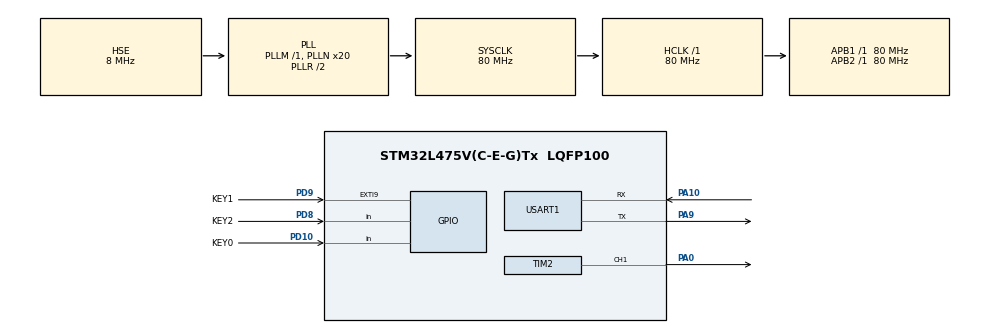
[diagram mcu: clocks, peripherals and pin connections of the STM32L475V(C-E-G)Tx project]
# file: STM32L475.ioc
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Mcu.Family=STM32L4
Mcu.Name=STM32L475V(C-E-G)Tx
Mcu.Package=LQFP100
NVIC.EXTI9_5_IRQn=true\:1\:3\:true\:false\:true\:true\:true
NVIC.PriorityGroup=NVIC_PRIORITYGROUP_1
NVIC.TIM1_UP_TIM16_IRQn=true\:0\:0\:false\:false\:true\:true\:true
NVIC.TIM3_IRQn=true\:0\:0\:false\:false\:true\:true\:true
PA0.Signal=S_TIM2_CH1
PA10.Mode=Asynchronous
PA10.Signal=USART1_RX
PA13\ (JTMS-SWDIO).Mode=Serial_Wire
PA13\ (JTMS-SWDIO).Signal=SYS_JTMS-SWDIO
PA14\ (JTCK-SWCLK).Mode=Serial_Wire
PA14\ (JTCK-SWCLK).Signal=SYS_JTCK-SWCLK
PA9.Mode=Asynchronous
PA9.Signal=USART1_TX
PD10.GPIO_Label=KEY0
PD10.GPIO_PuPd=GPIO_PULLUP
PD10.Signal=GPIO_Input
PD8.GPIO_Label=KEY2
PD8.GPIO_PuPd=GPIO_PULLUP
PD8.Signal=GPIO_Input
PD9.GPIO_Label=KEY1
PD9.GPIO_ModeDefaultEXTI=GPIO_MODE_IT_FALLING
PD9.GPIO_PuPd=GPIO_PULLUP
PD9.Signal=GPXTI9
PH0-OSC_IN\ (PH0).Mode=HSE-External-Oscillator
PH0-OSC_IN\ (PH0).Signal=RCC_OSC_IN
PH1-OSC_OUT\ (PH1).Mode=HSE-External-Oscillator
PH1-OSC_OUT\ (PH1).Signal=RCC_OSC_OUT
ProjectManager.HeapSize=0x200
ProjectManager.StackSize=0x400
ProjectManager.TargetToolchain=MDK-ARM V5.27
RCC.ADCFreq_Value=32000000
RCC.AHBFreq_Value=80000000
RCC.APB1Freq_Value=80000000
RCC.APB1TimFreq_Value=80000000
RCC.APB2Freq_Value=80000000
RCC.APB2TimFreq_Value=80000000
RCC.CortexFreq_Value=80000000
RCC.HCLKFreq_Value=80000000
RCC.HSE_VALUE=8000000
RCC.HSI_VALUE=16000000
RCC.LSE_VALUE=32768
RCC.MSI_VALUE=4000000
RCC.PLLN=20
RCC.PLLSourceVirtual=RCC_PLLSOURCE_HSE
RCC.SYSCLKFreq_VALUE=80000000
RCC.SYSCLKSource=RCC_SYSCLKSOURCE_PLLCLK
RCC.USBFreq_Value=32000000
RCC.VCOOutputFreq_Value=160000000
SH.S_TIM2_CH1.0=TIM2_CH1,PWM Generation1 CH1
TIM1.Period=2000-1
TIM1.Prescaler=40000-1
TIM2.Channel-PWM\ Generation1\ CH1=TIM_CHANNEL_1
TIM2.OC1Preload_PWM=ENABLE
TIM2.OCMode_PWM-PWM\ Generation1\ CH1=TIM_OCMODE_COMBINED_PWM1
TIM2.Period=20000-1
TIM2.Prescaler=40000-1
TIM2.Pulse-PWM\ Generation1\ CH1=10000
TIM3.Period=1000-1
TIM3.Prescaler=40000-1
USART1.VirtualMode-Asynchronous=VM_ASYNC
VP_TIM1_VS_ClockSourceINT.Mode=Internal
VP_TIM2_VS_ClockSourceINT.Mode=Internal
VP_TIM3_VS_ClockSourceINT.Mode=Internal
board=custom

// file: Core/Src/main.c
/* USER CODE BEGIN Header */
/**
  ******************************************************************************
  * @file           : main.c
  * @brief          : Main program body
  ******************************************************************************
  * @attention
  *
  * <h2><center>&copy; Copyright (c) 2020 STMicroelectronics.
  * All rights reserved.</center></h2>
  *
  * This software component is licensed by ST under BSD 3-Clause license,
  * the "License"; You may not use this file except in compliance with the
  * License. You may obtain a copy of the License at:
  *                        opensource.org/licenses/BSD-3-Clause
  *
  ******************************************************************************
  */
/* USER CODE END Header */
#include "main.h"
#include "tim.h"
#include "usart.h"
#include "gpio.h"

/* USER CODE BEGIN Includes */
#include <string.h>
#include "LED.h"
#include "BEEP.h"
#include "MOTOR.h"
/* USER CODE END Includes */

/* USER CODE BEGIN PV */
uint8_t recv_buf[10];
uint8_t recv_buf[10];
/* USER CODE END PV */

void SystemClock_Config(void);
/* USER CODE BEGIN PFP */
void my_printf(uint8_t *str);

/* USER CODE END PFP */

int main(void)
{
  /* USER CODE BEGIN 1 */
  int a;
  /* USER CODE END 1 */

  /* MCU Configuration--------------------------------------------------------*/

  /* Reset of all peripherals, Initializes the Flash interface and the Systick. */
  HAL_Init();

  /* Configure the system clock */
  SystemClock_Config();

  /* Initialize all configured peripherals */
  MX_GPIO_Init();
  MX_USART1_UART_Init();
  MX_TIM1_Init();
  MX_TIM2_Init();
  MX_TIM3_Init();
  /* USER CODE BEGIN 2 */
  LED_init();
  BEEP_Init();
  //MOTOR_init();

  HAL_TIM_PWM_Start(&htim2,TIM_CHANNEL_1);
  HAL_TIM_Base_Start_IT(&htim3);
  HAL_TIM_Base_Start_IT(&htim1);
  //LED_streamlight(1000);
  my_printf((uint8_t *)"123");

  /* USER CODE END 2 */

  /* Infinite loop */
  while (1)
  {
    if(HAL_GPIO_ReadPin(KEY0_GPIO_Port,KEY0_Pin) == GPIO_PIN_RESET)
    {
      //TIM2->CCMR1 = 800;
      my_printf("sadas");
      TIM2->CCR1 = 700;
    }
    HAL_Delay(1000);
  }
}

void SystemClock_Config(void)
{
  RCC_OscInitTypeDef RCC_OscInitStruct = {0};
  RCC_ClkInitTypeDef RCC_ClkInitStruct = {0};
  RCC_PeriphCLKInitTypeDef PeriphClkInit = {0};

  /** Initializes the RCC Oscillators according to the specified parameters
  * in the RCC_OscInitTypeDef structure.
  */
  RCC_OscInitStruct.OscillatorType = RCC_OSCILLATORTYPE_HSE;
  RCC_OscInitStruct.HSEState = RCC_HSE_ON;
  RCC_OscInitStruct.PLL.PLLState = RCC_PLL_ON;
  RCC_OscInitStruct.PLL.PLLSource = RCC_PLLSOURCE_HSE;
  RCC_OscInitStruct.PLL.PLLM = 1;
  RCC_OscInitStruct.PLL.PLLN = 20;
  RCC_OscInitStruct.PLL.PLLP = RCC_PLLP_DIV7;
  RCC_OscInitStruct.PLL.PLLQ = RCC_PLLQ_DIV2;
  RCC_OscInitStruct.PLL.PLLR = RCC_PLLR_DIV2;
  if (HAL_RCC_OscConfig(&RCC_OscInitStruct) != HAL_OK)
  {
    Error_Handler();
  }
  /** Initializes the CPU, AHB and APB buses clocks
  */
  RCC_ClkInitStruct.ClockType = RCC_CLOCKTYPE_HCLK|RCC_CLOCKTYPE_SYSCLK
                              |RCC_CLOCKTYPE_PCLK1|RCC_CLOCKTYPE_PCLK2;
  RCC_ClkInitStruct.SYSCLKSource = RCC_SYSCLKSOURCE_PLLCLK;
  RCC_ClkInitStruct.AHBCLKDivider = RCC_SYSCLK_DIV1;
  RCC_ClkInitStruct.APB1CLKDivider = RCC_HCLK_DIV1;
  RCC_ClkInitStruct.APB2CLKDivider = RCC_HCLK_DIV1;

  if (HAL_RCC_ClockConfig(&RCC_ClkInitStruct, FLASH_LATENCY_4) != HAL_OK)
  {
    Error_Handler();
  }
  PeriphClkInit.PeriphClockSelection = RCC_PERIPHCLK_USART1;
  PeriphClkInit.Usart1ClockSelection = RCC_USART1CLKSOURCE_PCLK2;
  if (HAL_RCCEx_PeriphCLKConfig(&PeriphClkInit) != HAL_OK)
  {
    Error_Handler();
  }
  /** Configure the main internal regulator output voltage
  */
  if (HAL_PWREx_ControlVoltageScaling(PWR_REGULATOR_VOLTAGE_SCALE1) != HAL_OK)
  {
    Error_Handler();
  }
}

/* USER CODE BEGIN 4 */
void HAL_GPIO_EXTI_Callback(uint16_t GPIO_Pin)
{
  LED_color(3);
  HAL_Delay(1000);
  LED_color(7);
  HAL_Delay(1000);
  TIM2->CCR1 = 200;

}
void HAL_TIM_PeriodElapsedCallback(TIM_HandleTypeDef *htim)
{
  if (htim->Instance == TIM3)
  {
    HAL_GPIO_TogglePin(LED_B_GPIO_Port, LED_B_Pin);
  }
  if (htim->Instance == TIM1)
  {
    my_printf("i am timer1\n");
  }
  if (htim->Instance == TIM2)
  {

    my_printf("i am timer2\n");
  }

  //BEEP_TogglePin();
}

void my_printf(uint8_t *str)
{
  HAL_UART_Transmit(&huart1, str, strlen((const char *)str), 120);
}
/* USER CODE END 4 */

void Error_Handler(void)
{
}

/************************ (C) COPYRIGHT STMicroelectronics *****END OF FILE****/
